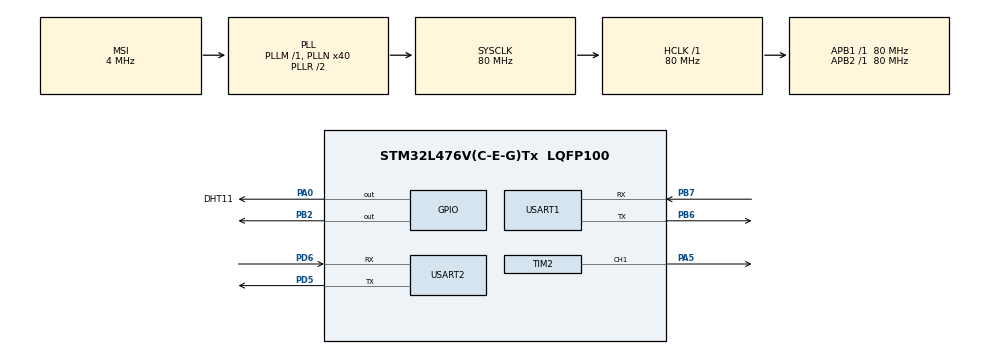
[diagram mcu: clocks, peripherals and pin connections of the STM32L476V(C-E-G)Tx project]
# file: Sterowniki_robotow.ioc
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Mcu.Family=STM32L4
Mcu.Name=STM32L476V(C-E-G)Tx
Mcu.Package=LQFP100
NVIC.PriorityGroup=NVIC_PRIORITYGROUP_4
NVIC.USART1_IRQn=true\:0\:0\:false\:false\:true\:true\:true\:true
NVIC.USART2_IRQn=true\:0\:0\:false\:false\:true\:true\:true\:true
PA0.GPIO_Label=DHT11
PA0.GPIO_ModeDefaultOutputPP=GPIO_MODE_OUTPUT_OD
PA0.GPIO_PuPd=GPIO_NOPULL
PA0.PinState=GPIO_PIN_SET
PA0.Signal=GPIO_Output
PA5.Signal=S_TIM2_CH1
PB2.Signal=GPIO_Output
PB6.Mode=Asynchronous
PB6.Signal=USART1_TX
PB7.Mode=Asynchronous
PB7.Signal=USART1_RX
PD5.Mode=Asynchronous
PD5.Signal=USART2_TX
PD6.Mode=Asynchronous
PD6.Signal=USART2_RX
PH0-OSC_IN\ (PH0).Mode=HSE-External-Oscillator
PH0-OSC_IN\ (PH0).Signal=RCC_OSC_IN
PH1-OSC_OUT\ (PH1).Mode=HSE-External-Oscillator
PH1-OSC_OUT\ (PH1).Signal=RCC_OSC_OUT
ProjectManager.HeapSize=0x200
ProjectManager.StackSize=0x400
ProjectManager.TargetToolchain=STM32CubeIDE
RCC.ADCFreq_Value=16000000
RCC.AHBFreq_Value=80000000
RCC.APB1Freq_Value=80000000
RCC.APB1TimFreq_Value=80000000
RCC.APB2Freq_Value=80000000
RCC.APB2TimFreq_Value=80000000
RCC.CortexFreq_Value=80000000
RCC.HCLKFreq_Value=80000000
RCC.HSE_VALUE=8000000
RCC.HSI_VALUE=16000000
RCC.LSE_VALUE=32768
RCC.MSI_VALUE=4000000
RCC.PLLN=40
RCC.SYSCLKFreq_VALUE=80000000
RCC.SYSCLKSource=RCC_SYSCLKSOURCE_PLLCLK
RCC.USBFreq_Value=16000000
RCC.VCOOutputFreq_Value=160000000
SH.S_TIM2_CH1.0=TIM2_CH1,PWM Generation1 CH1
TIM1.Period=0xffff-1
TIM1.Prescaler=80
TIM2.AutoReloadPreload=TIM_AUTORELOAD_PRELOAD_ENABLE
TIM2.Channel-PWM\ Generation1\ CH1=TIM_CHANNEL_1
TIM2.Period=65535
USART1.VirtualMode-Asynchronous=VM_ASYNC
USART2.VirtualMode-Asynchronous=VM_ASYNC
VP_TIM1_VS_ClockSourceINT.Mode=Internal
VP_TIM2_VS_ClockSourceINT.Mode=Internal
board=custom

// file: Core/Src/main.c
/* USER CODE BEGIN Header */
/**
  ******************************************************************************
  * @file           : main.c
  * @brief          : Main program body
  ******************************************************************************
  * @attention
  *
  * Copyright (c) 2023 STMicroelectronics.
  * All rights reserved.
  *
  * This software is licensed under terms that can be found in the LICENSE file
  * in the root directory of this software component.
  * If no LICENSE file comes with this software, it is provided AS-IS.
  *
  ******************************************************************************
  */
/* USER CODE END Header */
#include "main.h"

TIM_HandleTypeDef htim1;
TIM_HandleTypeDef htim2;

UART_HandleTypeDef huart1;
UART_HandleTypeDef huart2;

void SystemClock_Config(void);
static void MX_GPIO_Init(void);
static void MX_USART2_UART_Init(void);
static void MX_TIM1_Init(void);
static void MX_TIM2_Init(void);
static void MX_USART1_UART_Init(void);

/* USER CODE BEGIN 0 */
// Define the GPIO port and pin for the DHT11 sensor
#define DHT11_PORT GPIOA
#define DHT11_PIN GPIO_PIN_0
#define DHT11_TIMEOUT 20000
#define DHT11_ERROR -1
#define DHT11_OK 1

void delay_us (uint16_t us)
{
	__HAL_TIM_SET_COUNTER(&htim1,0);  // set the counter value a 0
	while (__HAL_TIM_GET_COUNTER(&htim1) < us);  // wait for the counter to reach the us input in the parameter
}

void resetTIM1(){
	__HAL_TIM_SET_COUNTER(&htim1,0);  // set the counter value a 0
}

uint16_t getTIM1()
{
	return __HAL_TIM_GET_COUNTER(&htim1);
}

void DHT11_interface(float *temperature, float *humidity){

	      // Read data from the DHT11 sensor
		  int read = dht11_read_data(&temperature, &humidity);
	      char buffer[60];
	      if (read == DHT11_OK) {
	   	   if (*temperature>0 && *humidity < 2147483600){
	              sprintf(buffer, "Temperature: %4.1f, Humidity: %4.1f\r\n", *temperature+8, *humidity*100/255);
//	              sprintf(buffer, "Temperature: %d, Humidity: %d\r\n", *temperature_int, *humidity_int);
	              HAL_UART_Transmit(&huart2, (uint8_t*)buffer, strlen(buffer), 10);
	   	   }
	       else{
	     	  sprintf(buffer, "OUT OF RANGE\r\n");
	     	  HAL_UART_Transmit(&huart2, (uint8_t*)buffer, strlen(buffer), 10);
	       }
	      }
	      else if (read == DHT11_ERROR){
	    	  sprintf(buffer, "DHT11_ERROR\r\n");
	    	  HAL_UART_Transmit(&huart2, (uint8_t*)buffer, strlen(buffer), 10);
	      }
	      else if (read == DHT11_TIMEOUT){
	    	  sprintf(buffer, "DHT11_TIMEOUT\r\n");
	    	  HAL_UART_Transmit(&huart2, (uint8_t*)buffer, strlen(buffer), 10);
	      }
	      else{
	    	  sprintf(buffer, "DUPA\r\n");
	    	  HAL_UART_Transmit(&huart2, (uint8_t*)buffer, strlen(buffer), 10);
	      }

	      // Wait for some time before reading the sensor again
	          HAL_Delay(1000);
}

void dht11_request() {
    	HAL_GPIO_WritePin(DHT11_PORT, DHT11_PIN, GPIO_PIN_RESET);
        HAL_Delay(20); // correct: 18 ms
        HAL_GPIO_WritePin(DHT11_PORT, DHT11_PIN, GPIO_PIN_SET);

        // Wait for the DHT11 sensor to respond
        resetTIM1();
        while (HAL_GPIO_ReadPin(DHT11_PORT, DHT11_PIN))
        {
            if (getTIM1() > 100) return DHT11_TIMEOUT;
        }
        resetTIM1();
        while (!HAL_GPIO_ReadPin(DHT11_PORT, DHT11_PIN))
        {
        	if (getTIM1() > 100) return DHT11_TIMEOUT;
        }
        delay_us(40);

}

void dht11_read_byte(uint8_t *byte) {

	uint8_t j;
	for (j=0;j<8;j++)
	{
		while (!(HAL_GPIO_ReadPin (DHT11_PORT, DHT11_PIN)));   // wait for the pin to go high
		delay_us(40);   // wait for 40 us
		if (!(HAL_GPIO_ReadPin (DHT11_PORT, DHT11_PIN)))   // if the pin is low
		{
			*byte&= ~(1<<(7-j));   // write 0
		}
		else *byte|= (1<<(7-j));  // if the pin is high, write 1
		while ((HAL_GPIO_ReadPin (DHT11_PORT, DHT11_PIN)));  // wait for the pin to go low

	}
}

int dht11_read_data(float* temperature, float* humidity) {
    uint8_t crc = 0;
    uint8_t data[5] = {0, 0, 0, 0, 0};
    resetTIM1();
    dht11_request();

    // wait for the response

    // read the data
    for (int i = 0; i < 5; i++) {
         dht11_read_byte(&data[i]);
    }
    crc = data[0] + data[1] + data[2] + data[3];
    // check the checksum
    if (data[4] == crc) {
        *humidity = data[0] + data[1] * 0.1f;
        *temperature = data[2] + (data[3] & 0x0f) * 0.1;
        return DHT11_OK;
    } else {
        *humidity = 0;
        *temperature = 0;
    }
}

/* USER CODE END 0 */

int main(void)
{

  /* MCU Configuration--------------------------------------------------------*/

  /* Reset of all peripherals, Initializes the Flash interface and the Systick. */
  HAL_Init();

  /* Configure the system clock */
  SystemClock_Config();

  /* Initialize all configured peripherals */
  MX_GPIO_Init();
  MX_USART2_UART_Init();
  MX_TIM1_Init();
  MX_TIM2_Init();
  MX_USART1_UART_Init();
  /* USER CODE BEGIN 2 */

//  uint8_t Test[] = "Hello World !!!\r\n"; //Data to send
//  HAL_UART_Transmit(&huart2,Test,sizeof(Test),10);// Sending in normal mode
  HAL_TIM_Base_Start(&htim1);
//  ESP_Init("Wiezienna_30_22","Ja_to_nie_doktor_Dolittle");
    ESP_Init("accespoint","12345678");

  /* USER CODE END 2 */

  /* Infinite loop */
  /* USER CODE BEGIN WHILE */
  while (1)
  {
	  float temperature = 88, humidity = 88;
//	  DHT11_interface(&temperature, &humidity);
	  Server_Start(&temperature, &humidity);

    /* USER CODE END WHILE */

  }
}

void SystemClock_Config(void)
{
  RCC_OscInitTypeDef RCC_OscInitStruct = {0};
  RCC_ClkInitTypeDef RCC_ClkInitStruct = {0};

  /** Configure the main internal regulator output voltage
  */
  if (HAL_PWREx_ControlVoltageScaling(PWR_REGULATOR_VOLTAGE_SCALE1) != HAL_OK)
  {
    Error_Handler();
  }

  /** Initializes the RCC Oscillators according to the specified parameters
  * in the RCC_OscInitTypeDef structure.
  */
  RCC_OscInitStruct.OscillatorType = RCC_OSCILLATORTYPE_MSI;
  RCC_OscInitStruct.MSIState = RCC_MSI_ON;
  RCC_OscInitStruct.MSICalibrationValue = 0;
  RCC_OscInitStruct.MSIClockRange = RCC_MSIRANGE_6;
  RCC_OscInitStruct.PLL.PLLState = RCC_PLL_ON;
  RCC_OscInitStruct.PLL.PLLSource = RCC_PLLSOURCE_MSI;
  RCC_OscInitStruct.PLL.PLLM = 1;
  RCC_OscInitStruct.PLL.PLLN = 40;
  RCC_OscInitStruct.PLL.PLLP = RCC_PLLP_DIV7;
  RCC_OscInitStruct.PLL.PLLQ = RCC_PLLQ_DIV2;
  RCC_OscInitStruct.PLL.PLLR = RCC_PLLR_DIV2;
  if (HAL_RCC_OscConfig(&RCC_OscInitStruct) != HAL_OK)
  {
    Error_Handler();
  }

  /** Initializes the CPU, AHB and APB buses clocks
  */
  RCC_ClkInitStruct.ClockType = RCC_CLOCKTYPE_HCLK|RCC_CLOCKTYPE_SYSCLK
                              |RCC_CLOCKTYPE_PCLK1|RCC_CLOCKTYPE_PCLK2;
  RCC_ClkInitStruct.SYSCLKSource = RCC_SYSCLKSOURCE_PLLCLK;
  RCC_ClkInitStruct.AHBCLKDivider = RCC_SYSCLK_DIV1;
  RCC_ClkInitStruct.APB1CLKDivider = RCC_HCLK_DIV1;
  RCC_ClkInitStruct.APB2CLKDivider = RCC_HCLK_DIV1;

  if (HAL_RCC_ClockConfig(&RCC_ClkInitStruct, FLASH_LATENCY_4) != HAL_OK)
  {
    Error_Handler();
  }
}

static void MX_TIM1_Init(void)
{

  TIM_ClockConfigTypeDef sClockSourceConfig = {0};
  TIM_MasterConfigTypeDef sMasterConfig = {0};

  htim1.Instance = TIM1;
  htim1.Init.Prescaler = 80;
  htim1.Init.CounterMode = TIM_COUNTERMODE_UP;
  htim1.Init.Period = 0xffff-1;
  htim1.Init.ClockDivision = TIM_CLOCKDIVISION_DIV1;
  htim1.Init.RepetitionCounter = 0;
  htim1.Init.AutoReloadPreload = TIM_AUTORELOAD_PRELOAD_DISABLE;
  if (HAL_TIM_Base_Init(&htim1) != HAL_OK)
  {
    Error_Handler();
  }
  sClockSourceConfig.ClockSource = TIM_CLOCKSOURCE_INTERNAL;
  if (HAL_TIM_ConfigClockSource(&htim1, &sClockSourceConfig) != HAL_OK)
  {
    Error_Handler();
  }
  sMasterConfig.MasterOutputTrigger = TIM_TRGO_RESET;
  sMasterConfig.MasterOutputTrigger2 = TIM_TRGO2_RESET;
  sMasterConfig.MasterSlaveMode = TIM_MASTERSLAVEMODE_DISABLE;
  if (HAL_TIMEx_MasterConfigSynchronization(&htim1, &sMasterConfig) != HAL_OK)
  {
    Error_Handler();
  }

}

static void MX_TIM2_Init(void)
{

  TIM_ClockConfigTypeDef sClockSourceConfig = {0};
  TIM_MasterConfigTypeDef sMasterConfig = {0};
  TIM_OC_InitTypeDef sConfigOC = {0};

  htim2.Instance = TIM2;
  htim2.Init.Prescaler = 0;
  htim2.Init.CounterMode = TIM_COUNTERMODE_UP;
  htim2.Init.Period = 65535;
  htim2.Init.ClockDivision = TIM_CLOCKDIVISION_DIV1;
  htim2.Init.AutoReloadPreload = TIM_AUTORELOAD_PRELOAD_ENABLE;
  if (HAL_TIM_Base_Init(&htim2) != HAL_OK)
  {
    Error_Handler();
  }
  sClockSourceConfig.ClockSource = TIM_CLOCKSOURCE_INTERNAL;
  if (HAL_TIM_ConfigClockSource(&htim2, &sClockSourceConfig) != HAL_OK)
  {
    Error_Handler();
  }
  if (HAL_TIM_PWM_Init(&htim2) != HAL_OK)
  {
    Error_Handler();
  }
  sMasterConfig.MasterOutputTrigger = TIM_TRGO_RESET;
  sMasterConfig.MasterSlaveMode = TIM_MASTERSLAVEMODE_DISABLE;
  if (HAL_TIMEx_MasterConfigSynchronization(&htim2, &sMasterConfig) != HAL_OK)
  {
    Error_Handler();
  }
  sConfigOC.OCMode = TIM_OCMODE_PWM1;
  sConfigOC.Pulse = 0;
  sConfigOC.OCPolarity = TIM_OCPOLARITY_HIGH;
  sConfigOC.OCFastMode = TIM_OCFAST_DISABLE;
  if (HAL_TIM_PWM_ConfigChannel(&htim2, &sConfigOC, TIM_CHANNEL_1) != HAL_OK)
  {
    Error_Handler();
  }
  HAL_TIM_MspPostInit(&htim2);

}

static void MX_USART1_UART_Init(void)
{

  huart1.Instance = USART1;
  huart1.Init.BaudRate = 115200;
  huart1.Init.WordLength = UART_WORDLENGTH_8B;
  huart1.Init.StopBits = UART_STOPBITS_1;
  huart1.Init.Parity = UART_PARITY_NONE;
  huart1.Init.Mode = UART_MODE_TX_RX;
  huart1.Init.HwFlowCtl = UART_HWCONTROL_NONE;
  huart1.Init.OverSampling = UART_OVERSAMPLING_16;
  huart1.Init.OneBitSampling = UART_ONE_BIT_SAMPLE_DISABLE;
  huart1.AdvancedInit.AdvFeatureInit = UART_ADVFEATURE_NO_INIT;
  if (HAL_UART_Init(&huart1) != HAL_OK)
  {
    Error_Handler();
  }

}

static void MX_USART2_UART_Init(void)
{

  huart2.Instance = USART2;
  huart2.Init.BaudRate = 115200;
  huart2.Init.WordLength = UART_WORDLENGTH_8B;
  huart2.Init.StopBits = UART_STOPBITS_1;
  huart2.Init.Parity = UART_PARITY_NONE;
  huart2.Init.Mode = UART_MODE_TX_RX;
  huart2.Init.HwFlowCtl = UART_HWCONTROL_NONE;
  huart2.Init.OverSampling = UART_OVERSAMPLING_16;
  huart2.Init.OneBitSampling = UART_ONE_BIT_SAMPLE_DISABLE;
  huart2.AdvancedInit.AdvFeatureInit = UART_ADVFEATURE_NO_INIT;
  if (HAL_UART_Init(&huart2) != HAL_OK)
  {
    Error_Handler();
  }

}

static void MX_GPIO_Init(void)
{
  GPIO_InitTypeDef GPIO_InitStruct = {0};

  /* GPIO Ports Clock Enable */
  __HAL_RCC_GPIOH_CLK_ENABLE();
  __HAL_RCC_GPIOA_CLK_ENABLE();
  __HAL_RCC_GPIOB_CLK_ENABLE();
  __HAL_RCC_GPIOD_CLK_ENABLE();

  /*Configure GPIO pin Output Level */
  HAL_GPIO_WritePin(DHT11_GPIO_Port, DHT11_Pin, GPIO_PIN_SET);

  /*Configure GPIO pin Output Level */
  HAL_GPIO_WritePin(GPIOB, GPIO_PIN_2, GPIO_PIN_RESET);

  /*Configure GPIO pin : DHT11_Pin */
  GPIO_InitStruct.Pin = DHT11_Pin;
  GPIO_InitStruct.Mode = GPIO_MODE_OUTPUT_OD;
  GPIO_InitStruct.Pull = GPIO_NOPULL;
  GPIO_InitStruct.Speed = GPIO_SPEED_FREQ_LOW;
  HAL_GPIO_Init(DHT11_GPIO_Port, &GPIO_InitStruct);

  /*Configure GPIO pin : PB2 */
  GPIO_InitStruct.Pin = GPIO_PIN_2;
  GPIO_InitStruct.Mode = GPIO_MODE_OUTPUT_PP;
  GPIO_InitStruct.Pull = GPIO_NOPULL;
  GPIO_InitStruct.Speed = GPIO_SPEED_FREQ_LOW;
  HAL_GPIO_Init(GPIOB, &GPIO_InitStruct);

}

void Error_Handler(void)
{
  __disable_irq();
  while (1)
  {
  }
}
